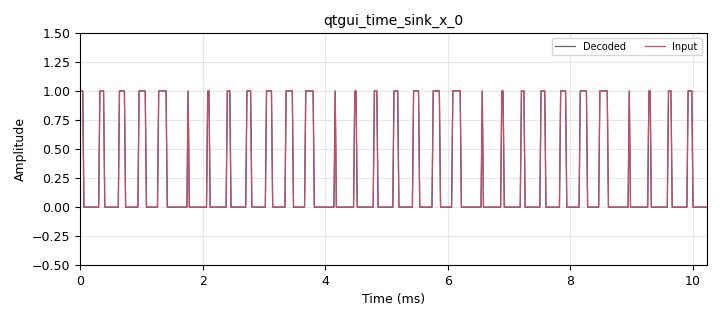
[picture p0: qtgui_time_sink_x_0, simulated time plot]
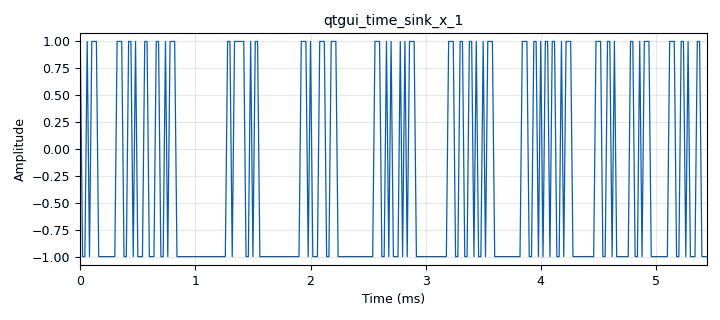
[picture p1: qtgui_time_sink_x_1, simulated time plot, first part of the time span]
<?xml version='1.0' encoding='utf-8'?>
<?grc format='1' created='3.7.9'?>
<flow_graph>
<block>
<key>options</key>
<param><key>id</key><value>fecapi_async_decoders</value></param>
<param><key>category</key><value>Custom</value></param>
<param><key>generate_options</key><value>qt_gui</value></param>
</block>
<block>
<key>variable_cc_decoder_def</key>
<param><key>id</key><value>dec_cc</value></param>
<param><key>padding</key><value>False</value></param>
<param><key>k</key><value>k</value></param>
<param><key>state_end</key><value>-1</value></param>
<param><key>framebits</key><value>MTU*8</value></param>
<param><key>ndim</key><value>0</value></param>
<param><key>polys</key><value>polys</value></param>
<param><key>rate</key><value>rate</value></param>
<param><key>state_start</key><value>0</value></param>
<param><key>mode</key><value>fec.CC_TERMINATED</value></param>
</block>
<block>
<key>variable_dummy_decoder_def</key>
<param><key>id</key><value>dec_dummy</value></param>
<param><key>framebits</key><value>MTU*8</value></param>
<param><key>ndim</key><value>0</value></param>
</block>
<block>
<key>variable_repetition_decoder_def</key>
<param><key>id</key><value>dec_rep</value></param>
<param><key>framebits</key><value>MTU*8</value></param>
<param><key>ndim</key><value>0</value></param>
<param><key>rep</key><value>rep</value></param>
<param><key>prob</key><value>0.5</value></param>
</block>
<block>
<key>variable_cc_encoder_def</key>
<param><key>id</key><value>enc_cc</value></param>
<param><key>padding</key><value>False</value></param>
<param><key>k</key><value>k</value></param>
<param><key>framebits</key><value>MTU*8</value></param>
<param><key>ndim</key><value>0</value></param>
<param><key>polys</key><value>polys</value></param>
<param><key>rate</key><value>rate</value></param>
<param><key>state_start</key><value>0</value></param>
<param><key>mode</key><value>fec.CC_TERMINATED</value></param>
</block>
<block>
<key>variable_ccsds_encoder_def</key>
<param><key>id</key><value>enc_ccsds</value></param>
<param><key>framebits</key><value>MTU*8</value></param>
<param><key>ndim</key><value>0</value></param>
<param><key>state_start</key><value>0</value></param>
<param><key>mode</key><value>fec.CC_TERMINATED</value></param>
</block>
<block>
<key>variable_dummy_encoder_def</key>
<param><key>id</key><value>enc_dummy</value></param>
<param><key>framebits</key><value>MTU*8</value></param>
<param><key>ndim</key><value>0</value></param>
</block>
<block>
<key>variable_repetition_encoder_def</key>
<param><key>id</key><value>enc_rep</value></param>
<param><key>framebits</key><value>MTU*8</value></param>
<param><key>ndim</key><value>0</value></param>
<param><key>rep</key><value>rep</value></param>
</block>
<block>
<key>variable</key>
<param><key>id</key><value>k</value></param>
<param><key>value</key><value>7</value></param>
</block>
<block>
<key>variable</key>
<param><key>id</key><value>polys</value></param>
<param><key>value</key><value>[109, 79]</value></param>
</block>
<block>
<key>variable</key>
<param><key>id</key><value>rate</value></param>
<param><key>value</key><value>2</value></param>
</block>
<block>
<key>variable</key>
<param><key>id</key><value>rep</value></param>
<param><key>value</key><value>3</value></param>
</block>
<block>
<key>variable</key>
<param><key>id</key><value>samp_rate</value></param>
<param><key>value</key><value>50000</value></param>
</block>
<block>
<key>parameter</key>
<param><key>id</key><value>MTU</value></param>
<param><key>label</key><value>MTU</value></param>
<param><key>type</key><value>intx</value></param>
<param><key>value</key><value>1500</value></param>
</block>
<block>
<key>analog_random_source_x</key>
<param><key>id</key><value>analog_random_source_x_0</value></param>
<param><key>_enabled</key><value>False</value></param>
<param><key>max</key><value>256</value></param>
<param><key>min</key><value>0</value></param>
<param><key>num_samps</key><value>1000</value></param>
<param><key>type</key><value>byte</value></param>
<param><key>repeat</key><value>True</value></param>
</block>
<block>
<key>blocks_char_to_float</key>
<param><key>id</key><value>blocks_char_to_float_0_0_0_0</value></param>
<param><key>scale</key><value>1</value></param>
</block>
<block>
<key>blocks_char_to_float</key>
<param><key>id</key><value>blocks_char_to_float_0_1</value></param>
<param><key>scale</key><value>1</value></param>
</block>
<block>
<key>blocks_char_to_float</key>
<param><key>id</key><value>blocks_char_to_float_0_1_0</value></param>
<param><key>scale</key><value>1</value></param>
</block>
<block>
<key>blocks_ctrlport_monitor_performance</key>
<param><key>id</key><value>blocks_ctrlport_monitor_performance_0</value></param>
<param><key>_enabled</key><value>False</value></param>
<param><key>en</key><value>True</value></param>
</block>
<block>
<key>blocks_pdu_to_tagged_stream</key>
<param><key>id</key><value>blocks_pdu_to_tagged_stream_0</value></param>
<param><key>type</key><value>byte</value></param>
<param><key>tag</key><value>pkt_len</value></param>
</block>
<block>
<key>blocks_pdu_to_tagged_stream</key>
<param><key>id</key><value>blocks_pdu_to_tagged_stream_0_0</value></param>
<param><key>type</key><value>byte</value></param>
<param><key>tag</key><value>pkt_len</value></param>
</block>
<block>
<key>blocks_repack_bits_bb</key>
<param><key>id</key><value>blocks_repack_bits_bb_0_0</value></param>
<param><key>k</key><value>8</value></param>
<param><key>l</key><value>1</value></param>
<param><key>endianness</key><value>gr.GR_LSB_FIRST</value></param>
<param><key>len_tag_key</key><value>pkt_len</value></param>
</block>
<block>
<key>blocks_stream_to_tagged_stream</key>
<param><key>id</key><value>blocks_stream_to_tagged_stream_0_0</value></param>
<param><key>len_tag_key</key><value>pkt_len</value></param>
<param><key>packet_len</key><value>frame_size</value></param>
<param><key>type</key><value>byte</value></param>
</block>
<block>
<key>blocks_tagged_stream_to_pdu</key>
<param><key>id</key><value>blocks_tagged_stream_to_pdu_0</value></param>
<param><key>type</key><value>byte</value></param>
<param><key>tag</key><value>pkt_len</value></param>
</block>
<block>
<key>blocks_tagged_stream_to_pdu</key>
<param><key>id</key><value>blocks_tagged_stream_to_pdu_1</value></param>
<param><key>type</key><value>float</value></param>
<param><key>tag</key><value>pkt_len</value></param>
</block>
<block>
<key>blocks_throttle</key>
<param><key>id</key><value>blocks_throttle_0</value></param>
<param><key>samples_per_second</key><value>samp_rate</value></param>
<param><key>type</key><value>byte</value></param>
</block>
<block>
<key>blocks_vector_source_x</key>
<param><key>id</key><value>blocks_vector_source_x_0_1_0</value></param>
<param><key>type</key><value>byte</value></param>
<param><key>repeat</key><value>True</value></param>
<param><key>vector</key><value>(frame_size/15)*[0, 0, 1, 0, 3, 0, 7, 0, 15, 0, 31, 0, 63, 0, 127]</value></param>
</block>
<block>
<key>digital_map_bb</key>
<param><key>id</key><value>digital_map_bb_0</value></param>
<param><key>map</key><value>[-1,1]</value></param>
</block>
<block>
<key>fec_async_decoder</key>
<param><key>id</key><value>fec_async_decoder_0</value></param>
<param><key>decoder</key><value>dec_cc</value></param>
<param><key>mtu</key><value>MTU</value></param>
</block>
<block>
<key>fec_async_encoder</key>
<param><key>id</key><value>fec_async_encoder_0</value></param>
<param><key>encoder</key><value>enc_ccsds</value></param>
<param><key>mtu</key><value>MTU</value></param>
</block>
<block>
<key>parameter</key>
<param><key>id</key><value>frame_size</value></param>
<param><key>label</key><value>Frame Size</value></param>
<param><key>type</key><value>intx</value></param>
<param><key>value</key><value>30</value></param>
</block>
<block>
<key>parameter</key>
<param><key>id</key><value>puncpat</value></param>
<param><key>type</key><value>string</value></param>
<param><key>value</key><value>'11'</value></param>
</block>
<block>
<key>qtgui_time_sink_x</key>
<param><key>id</key><value>qtgui_time_sink_x_0</value></param>
<param><key>color1</key><value>"blue"</value></param>
<param><key>label1</key><value>Decoded</value></param>
<param><key>alpha2</key><value>0.6</value></param>
<param><key>color2</key><value>"red"</value></param>
<param><key>label2</key><value>Input</value></param>
<param><key>name</key><value></value></param>
<param><key>nconnections</key><value>2</value></param>
<param><key>size</key><value>512</value></param>
<param><key>srate</key><value>samp_rate</value></param>
<param><key>type</key><value>float</value></param>
<param><key>update_time</key><value>0.01</value></param>
<param><key>ymax</key><value>1.5</value></param>
<param><key>ymin</key><value>-0.5</value></param>
</block>
<block>
<key>qtgui_time_sink_x</key>
<param><key>id</key><value>qtgui_time_sink_x_1</value></param>
<param><key>legend</key><value>False</value></param>
<param><key>color1</key><value>"blue"</value></param>
<param><key>label1</key><value></value></param>
<param><key>name</key><value></value></param>
<param><key>size</key><value>1024</value></param>
<param><key>srate</key><value>samp_rate</value></param>
<param><key>type</key><value>float</value></param>
</block>
<connection><source_block_id>analog_random_source_x_0</source_block_id><sink_block_id>blocks_throttle_0</sink_block_id><source_key>0</source_key><sink_key>0</sink_key></connection>
<connection><source_block_id>blocks_char_to_float_0_0_0_0</source_block_id><sink_block_id>qtgui_time_sink_x_0</sink_block_id><source_key>0</source_key><sink_key>0</sink_key></connection>
<connection><source_block_id>blocks_char_to_float_0_1</source_block_id><sink_block_id>blocks_tagged_stream_to_pdu_1</sink_block_id><source_key>0</source_key><sink_key>0</sink_key></connection>
<connection><source_block_id>blocks_char_to_float_0_1</source_block_id><sink_block_id>qtgui_time_sink_x_1</sink_block_id><source_key>0</source_key><sink_key>0</sink_key></connection>
<connection><source_block_id>blocks_char_to_float_0_1_0</source_block_id><sink_block_id>qtgui_time_sink_x_0</sink_block_id><source_key>0</source_key><sink_key>1</sink_key></connection>
<connection><source_block_id>blocks_pdu_to_tagged_stream_0</source_block_id><sink_block_id>digital_map_bb_0</sink_block_id><source_key>0</source_key><sink_key>0</sink_key></connection>
<connection><source_block_id>blocks_pdu_to_tagged_stream_0_0</source_block_id><sink_block_id>blocks_char_to_float_0_0_0_0</sink_block_id><source_key>0</source_key><sink_key>0</sink_key></connection>
<connection><source_block_id>blocks_repack_bits_bb_0_0</source_block_id><sink_block_id>blocks_char_to_float_0_1_0</sink_block_id><source_key>0</source_key><sink_key>0</sink_key></connection>
<connection><source_block_id>blocks_repack_bits_bb_0_0</source_block_id><sink_block_id>blocks_tagged_stream_to_pdu_0</sink_block_id><source_key>0</source_key><sink_key>0</sink_key></connection>
<connection><source_block_id>blocks_stream_to_tagged_stream_0_0</source_block_id><sink_block_id>blocks_repack_bits_bb_0_0</sink_block_id><source_key>0</source_key><sink_key>0</sink_key></connection>
<connection><source_block_id>blocks_tagged_stream_to_pdu_0</source_block_id><sink_block_id>fec_async_encoder_0</sink_block_id><source_key>pdus</source_key><sink_key>in</sink_key></connection>
<connection><source_block_id>blocks_tagged_stream_to_pdu_1</source_block_id><sink_block_id>fec_async_decoder_0</sink_block_id><source_key>pdus</source_key><sink_key>in</sink_key></connection>
<connection><source_block_id>blocks_throttle_0</source_block_id><sink_block_id>blocks_stream_to_tagged_stream_0_0</sink_block_id><source_key>0</source_key><sink_key>0</sink_key></connection>
<connection><source_block_id>blocks_vector_source_x_0_1_0</source_block_id><sink_block_id>blocks_throttle_0</sink_block_id><source_key>0</source_key><sink_key>0</sink_key></connection>
<connection><source_block_id>digital_map_bb_0</source_block_id><sink_block_id>blocks_char_to_float_0_1</sink_block_id><source_key>0</source_key><sink_key>0</sink_key></connection>
<connection><source_block_id>fec_async_decoder_0</source_block_id><sink_block_id>blocks_pdu_to_tagged_stream_0_0</sink_block_id><source_key>out</source_key><sink_key>pdus</sink_key></connection>
<connection><source_block_id>fec_async_encoder_0</source_block_id><sink_block_id>blocks_pdu_to_tagged_stream_0</sink_block_id><source_key>out</source_key><sink_key>pdus</sink_key></connection>
</flow_graph>
